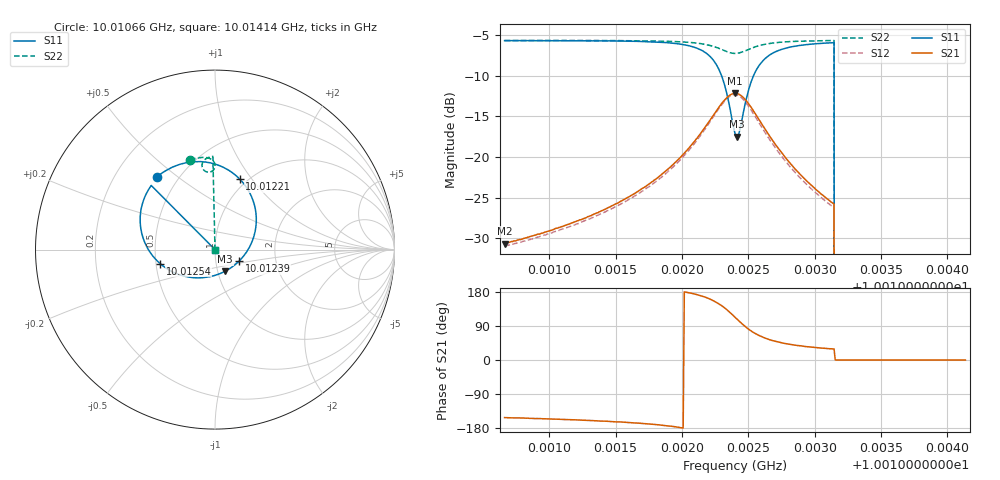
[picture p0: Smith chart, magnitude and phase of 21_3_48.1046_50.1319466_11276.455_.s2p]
#  HZ  S  RI  R  50.00
! Rohde & Schwarz Vector Network Analyzer
! Rohde-Schwarz,ZNB20-2Port,1311601062101988,3.16
! Created: UTC 12/23/2023, 3:36:40 AM
! freq[Hz]  re:S11  im:S11  re:S21  im:S21  re:S12  im:S12  re:S22  im:S22
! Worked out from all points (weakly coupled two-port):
!   401 points, 10.01066 GHz to 10.01414 GHz, reference 50 ohm
!   highest |S21| = -12.18 dB at 10.0124 GHz (marker M1); lowest = -30.6 dB at 10.01066 GHz (marker M2)
!   lowest |S11| = -17.5 dB at 10.01242 GHz (marker M3), VSWR 1.31, Z = 54.3 - j13.3 ohm
!   |S11| at or under -10 dB: 10.0123 GHz to 10.01254 GHz (241.4 kHz wide, 0.00241 % of centre); 10.01315 GHz to end of sweep
!   |S22| runs from - to -5.7 dB; largest |S21 - S12| = 0.011
!   S11 on the Smith chart (normalised r, x): 10.01066 GHz: 0.38, +0.42; 10.01221 GHz: 0.92, +0.87; 10.01239 GHz: 1.30, -0.17; 10.01254 GHz: 0.53, -0.09; 10.01414 GHz: 1.00, +0.00
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1.0010664e10  -0.323 0.4058  -0.026 -0.0138  -0.0243 -0.0147  -0.1392 0.5008
1.0011245e10  -0.2654 0.4451  -0.0386 -0.015  -0.0364 -0.0164  -0.0991 0.5101
1.0011549e10  -0.2171 0.4678  -0.0518 -0.0151  -0.0491 -0.0171  -0.0756 0.5131
1.0011827e10  -0.1424 0.4872  -0.0749 -0.0116  -0.0715 -0.015  -0.0506 0.513
1.001207e10  -0.00707 0.4785  -0.1178 0.00754  -0.1144 0.000888  -0.0221 0.5044
1.0012209e10  0.1368 0.3937  -0.1582 0.0539  -0.1572 0.0442  -0.0035 0.4849
1.0012304e10  0.2279 0.2049  -0.1702 0.1323  -0.1734 0.1224  -0.00162 0.456
1.0012348e10  0.2155 0.0695  -0.1507 0.1808  -0.1554 0.1719  -0.0108 0.4411
1.0012391e10  0.1345 -0.0637  -0.1065 0.2214  -0.1131 0.2132  -0.0283 0.4321
1.00124e10  0.1118 -0.084  -0.096 0.2265  -0.101 0.2194  -0.0328 0.4315
1.0012417e10  0.0563 -0.1208  -0.0721 0.2343  -0.0772 0.2273  -0.041 0.4316
1.0012434e10  -0.00464 -0.1451  -0.048 0.2368  -0.0528 0.2302  -0.0488 0.4337
1.0012469e10  -0.124 -0.1562  -0.00268 0.2291  -0.00781 0.2221  -0.0617 0.4423
1.0012538e10  -0.3053 -0.0785  0.0575 0.1832  0.05 0.1776  -0.0721 0.4655
1.0012599e10  -0.3812 0.0182  0.076 0.1412  0.0689 0.1368  -0.07 0.4824
1.0012677e10  -0.414 0.1221  0.0796 0.1008  0.072 0.0988  -0.0615 0.4967
1.0012807e10  -0.41 0.2338  0.0695 0.062  0.0635 0.0615  -0.0456 0.5091
1.0012981e10  -0.3818 0.3138  0.0552 0.037  0.0507 0.0375  -0.0271 0.5165
1.0013129e10  -0.3577 0.3538  0.0458 0.0259  0.0423 0.0268  -0.0133 0.5193
1.0013172e10  0 0  0 0  0 0  0 0
1.0013563e10  0 0  0 0  0 0  0 0
1.0014135e10  0 0  0 0  0 0  0 0
